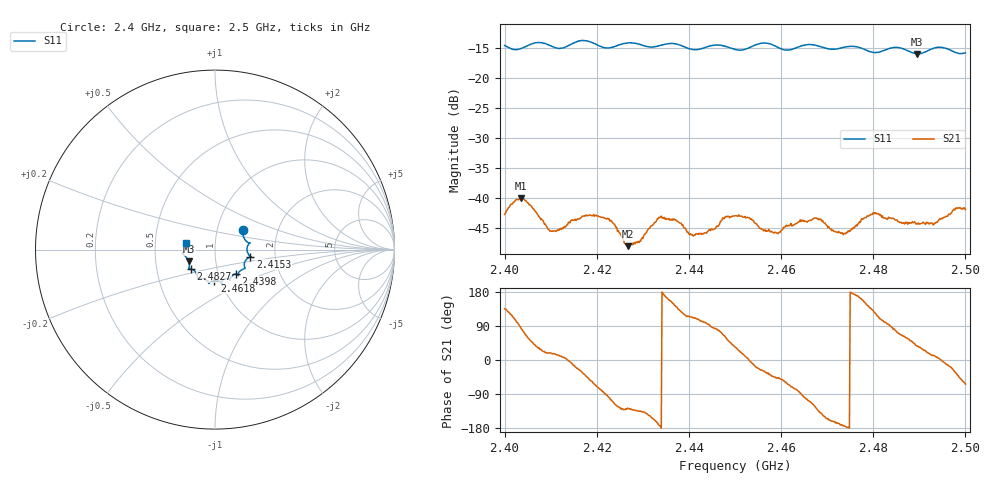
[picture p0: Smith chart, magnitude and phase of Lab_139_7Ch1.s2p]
# Hz S RI R 50
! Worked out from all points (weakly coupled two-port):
!   601 points, 2.4 GHz to 2.5 GHz, reference 50 ohm
!   highest |S21| = -40.04 dB at 2.4035 GHz (marker M1); lowest = -48.1 dB at 2.4268 GHz (marker M2)
!   lowest |S11| = -15.9 dB at 2.4895 GHz (marker M3), VSWR 1.38, Z = 37 - j5.01 ohm
!   |S11| at or under -10 dB: start of sweep to end of sweep
!   S12 and S22 are empty: the file has one direction only
!   S11 on the Smith chart (normalised r, x): 2.4 GHz: 1.33, +0.29; 2.4153 GHz: 1.48, -0.12; 2.4398 GHz: 1.21, -0.34; 2.4618 GHz: 0.94, -0.33; 2.4827 GHz: 0.75, -0.17; 2.5 GHz: 0.72, +0.06
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2.4e9  0.1552 0.1069  -0.00516 0.0051  0 0  0 0
2.4035e9  0.1693 0.0524  0.000807 0.00993  0 0  0 0
2.41e9  0.1851 0.0269  0.00499 0.00169  0 0  0 0
2.415333e9  0.1966 -0.0388  0.00629 -0.00207  0 0  0 0
2.416667e9  0.2026 -0.0427  0.00593 -0.00344  0 0  0 0
2.422833e9  0.164 -0.0746  -0.0012 -0.00627  0 0  0 0
2.426833e9  0.1688 -0.1037  -0.00244 -0.00309  0 0  0 0
2.433333e9  0.1295 -0.1343  -0.00656 -0.00129  0 0  0 0
2.437e9  0.1313 -0.1437  -0.00527 0.00386  0 0  0 0
2.439833e9  0.1151 -0.1358  -0.00228 0.00462  0 0  0 0
2.443333e9  0.0871 -0.1576  -0.000818 0.00502  0 0  0 0
2.45e9  0.065 -0.1618  0.0058 0.00405  0 0  0 0
2.458833e9  0.0325 -0.1824  0.00354 -0.00374  0 0  0 0
2.461833e9  -0.00306 -0.1728  0.00236 -0.00535  0 0  0 0
2.466667e9  -0.0347 -0.1884  -0.00272 -0.00593  0 0  0 0
2.4735e9  -0.0853 -0.16  -0.00488 -0.000518  0 0  0 0
2.48e9  -0.11 -0.1228  -0.00484 0.00573  0 0  0 0
2.482667e9  -0.135 -0.1084  -0.00113 0.00662  0 0  0 0
2.483333e9  -0.1401 -0.1082  -0.0005 0.00687  0 0  0 0
2.4895e9  -0.146 -0.066  0.00491 0.00363  0 0  0 0
2.494333e9  -0.1808 -0.0214  0.00655 0.000417  0 0  0 0
2.5e9  -0.1591 0.039  0.00353 -0.00711  0 0  0 0
